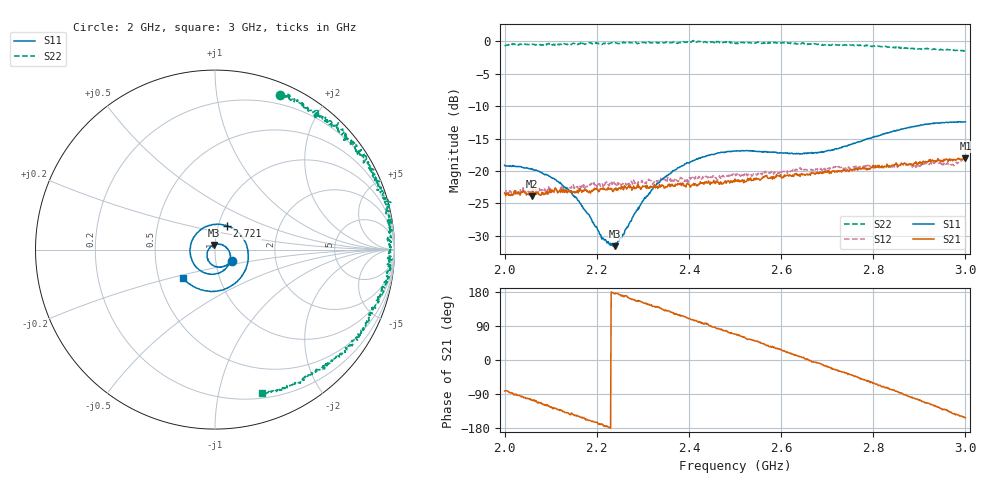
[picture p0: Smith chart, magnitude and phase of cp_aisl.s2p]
!Agilent Technologies,E8364A,US41440144,A.06.04.32
!Agilent E8364A: A.06.04.32
!Date: Friday, February 02, 2018 16:06:53
!Correction: S11(Full 2 Port(1,2)) S21(Full 2 Port(1,2)) S12(Full 2 Port(1,2)) S22(Full 2 Port(1,2))
!S2P File: Measurements: S11, S21, S12, S22:
# Hz S  dB  R 50
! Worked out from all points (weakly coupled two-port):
!   801 points, 2 GHz to 3 GHz, reference 50 ohm
!   highest |S21| = -18.03 dB at 3 GHz (marker M1); lowest = -23.9 dB at 2.059 GHz (marker M2)
!   lowest |S11| = -31.6 dB at 2.239 GHz (marker M3), VSWR 1.05, Z = 49.2 + j2.47 ohm
!   |S11| at or under -10 dB: start of sweep to end of sweep
!   |S22| runs from -1.5 to 0.1 dB; largest |S21 - S12| = 0.017
!   S11 on the Smith chart (normalised r, x): 2 GHz: 1.19, -0.15; 2.721 GHz: 1.10, +0.30; 3 GHz: 0.67, -0.23
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2e9  -19.12 -33.4  -23.44 -81.8  -23.25 -77.8  -0.61 67.2
2.05875e9  -19.63 -70.3  -23.90 -106.3  -23.21 -103.7  -0.44 59.1
2.11625e9  -21.65 -106.4  -23.26 -131.8  -23.01 -125.9  -0.52 51.9
2.1675e9  -25.44 -145.5  -23.31 -152.2  -22.49 -149.0  -0.44 45.1
2.21125e9  -30.51 161.1  -22.69 -168.5  -22.02 -167.7  -0.50 40.3
2.23875e9  -31.61 107.1  -22.73 174.6  -21.96 179.9  -0.19 36.6
2.255e9  -29.91 72.6  -22.47 171.4  -22.06 173.4  -0.26 34.3
2.3e9  -24.65 18.2  -22.29 150.9  -21.62 153.2  -0.19 29.6
2.33375e9  -21.88 -9.2  -22.46 139.9  -21.51 137.3  -0.21 23.7
2.395e9  -18.74 -49.3  -22.03 111.3  -21.74 111.8  -0.18 16.9
2.4475e9  -17.48 -82.7  -21.72 90.1  -20.99 90.3  -0.08 10.7
2.5e9  -16.93 -117.4  -21.25 68.5  -20.49 66.5  -0.31 4.2
2.585e9  -17.14 -179.3  -21.17 33.9  -20.24 31.3  -0.23 -6.4
2.62375e9  -17.25 149.0  -20.83 15.3  -20.03 10.5  -0.27 -10.7
2.6675e9  -17.28 111.1  -20.32 -4.2  -19.86 -7.7  -0.51 -17.5
2.72125e9  -16.57 63.7  -20.20 -26.1  -19.54 -31.4  -0.57 -25.4
2.78375e9  -15.11 12.8  -19.63 -53.5  -19.18 -61.0  -0.61 -34.9
2.83375e9  -14.09 -24.5  -19.40 -75.2  -19.40 -79.7  -0.88 -41.8
2.87125e9  -13.41 -50.9  -18.92 -92.6  -18.89 -98.7  -1.06 -48.5
2.91875e9  -12.77 -83.2  -18.59 -114.1  -18.90 -116.9  -1.12 -57.4
2.955e9  -12.56 -107.3  -18.29 -131.1  -19.14 -136.0  -1.28 -63.8
3e9  -12.43 -138.0  -18.03 -153.1  -18.57 -153.2  -1.51 -71.7
